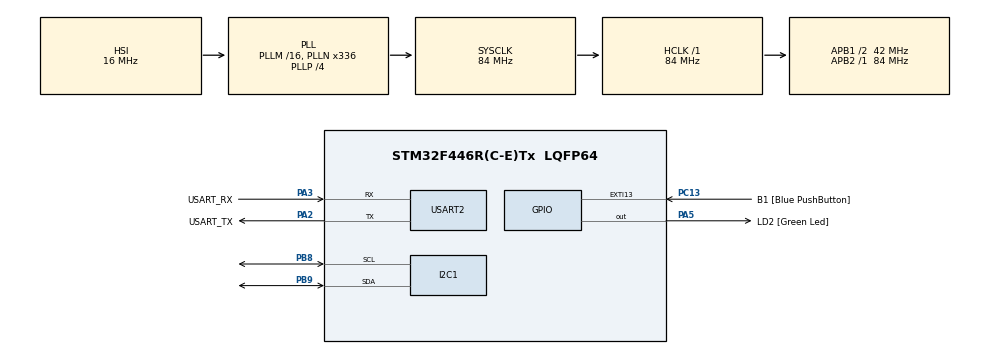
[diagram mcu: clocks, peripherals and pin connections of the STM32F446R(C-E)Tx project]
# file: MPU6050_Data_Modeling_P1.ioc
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Mcu.Family=STM32F4
Mcu.Name=STM32F446R(C-E)Tx
Mcu.Package=LQFP64
NVIC.PriorityGroup=NVIC_PRIORITYGROUP_0
NVIC.USART2_IRQn=true\:0\:0\:false\:false\:true\:true\:true\:true
PA13.GPIO_Label=TMS
PA13.Mode=Serial_Wire
PA13.Signal=SYS_JTMS-SWDIO
PA14.GPIO_Label=TCK
PA14.Mode=Serial_Wire
PA14.Signal=SYS_JTCK-SWCLK
PA2.GPIO_Label=USART_TX
PA2.Mode=Asynchronous
PA2.Signal=USART2_TX
PA3.GPIO_Label=USART_RX
PA3.Mode=Asynchronous
PA3.Signal=USART2_RX
PA5.GPIO_Label=LD2 [Green Led]
PA5.Signal=GPIO_Output
PB3.GPIO_Label=SWO
PB3.Signal=SYS_JTDO-SWO
PB8.Mode=I2C
PB8.Signal=I2C1_SCL
PB9.Mode=I2C
PB9.Signal=I2C1_SDA
PC13.GPIO_Label=B1 [Blue PushButton]
PC13.GPIO_ModeDefaultEXTI=GPIO_MODE_IT_FALLING
PC13.Signal=GPXTI13
PC14-OSC32_IN.Mode=LSE-External-Oscillator
PC14-OSC32_IN.Signal=RCC_OSC32_IN
PC15-OSC32_OUT.Mode=LSE-External-Oscillator
PC15-OSC32_OUT.Signal=RCC_OSC32_OUT
PH0-OSC_IN.Mode=HSE-External-Oscillator
PH0-OSC_IN.Signal=RCC_OSC_IN
PH1-OSC_OUT.Mode=HSE-External-Oscillator
PH1-OSC_OUT.Signal=RCC_OSC_OUT
ProjectManager.HeapSize=0x200
ProjectManager.StackSize=0x400
ProjectManager.TargetToolchain=STM32CubeIDE
RCC.48MHZClocksFreq_Value=84000000
RCC.AHBFreq_Value=84000000
RCC.APB1CLKDivider=RCC_HCLK_DIV2
RCC.APB1Freq_Value=42000000
RCC.APB1TimFreq_Value=84000000
RCC.APB2Freq_Value=84000000
RCC.APB2TimFreq_Value=84000000
RCC.CortexFreq_Value=84000000
RCC.FLatency-AdvancedSettings=FLASH_LATENCY_2
RCC.HCLKFreq_Value=84000000
RCC.HSE_VALUE=8000000
RCC.HSI_VALUE=16000000
RCC.PLLN=336
RCC.PLLP=RCC_PLLP_DIV4
RCC.SYSCLKFreq_VALUE=84000000
RCC.SYSCLKSource=RCC_SYSCLKSOURCE_PLLCLK
RCC.USBFreq_Value=168000000
RCC.VCOOutputFreq_Value=336000000
USART2.VirtualMode=VM_ASYNC
board=NUCLEO-F446RE

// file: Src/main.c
/* USER CODE BEGIN Header */
/**
  ******************************************************************************
  * @file           : main.c
  * @brief          : Main program body
  ******************************************************************************
  * @attention
  *
  * Copyright (c) 2026 STMicroelectronics.
  * All rights reserved.
  *
  * This software is licensed under terms that can be found in the LICENSE file
  * in the root directory of this software component.
  * If no LICENSE file comes with this software, it is provided AS-IS.
  *
  ******************************************************************************
  */
/* USER CODE END Header */
#include "main.h"
#include "i2c.h"
#include "usart.h"
#include "gpio.h"

/* USER CODE BEGIN Includes */
#include "imu_logger.h"
#include "6050_logic.h"
#include <stdint.h>
#include <stdbool.h>
#include <stdio.h>
/* USER CODE END Includes */

void SystemClock_Config(void);

/* USER CODE BEGIN 0 */
#define BUTTON_HOLD_TIME 3000U
#define DEBOUNCE_PAUSE   50U
#define SAMPLE_DELAY     20U

/* USER CODE END 0 */

int main(void)
{

  /* MCU Configuration--------------------------------------------------------*/

  /* Reset of all peripherals, Initializes the Flash interface and the Systick. */
  HAL_Init();

  /* Configure the system clock */
  SystemClock_Config();

  /* Initialize all configured peripherals */
  MX_GPIO_Init();
  MX_I2C1_Init();
  MX_USART2_UART_Init();
  /* USER CODE BEGIN 2 */

  bool recording = false;
  bool dumped = false;
  MPU6050Sample mpu6050_data;
  FullIMUSample full_sample;
  uint32_t last_sample_time = 0;
  char err_msg[100];
  char gen_msg[200];
  HAL_StatusTypeDef status;

  status = MPU6050_init();
  snprintf(err_msg, sizeof(err_msg), "Status after MPU6050 init: %d \r\n", status);
  uart_print(err_msg);

  status = logger_init();
  snprintf(err_msg, sizeof(err_msg), "Status after MPU6050 init: %d \r\n", status);
  uart_print(err_msg);

  /* USER CODE END 2 */

  /* Infinite loop */
  while (1)
  {

    /* USER CODE BEGIN 3 */
	  dumped = false;

	  if (HAL_GPIO_ReadPin(GPIOC, GPIO_PIN_13) == GPIO_PIN_RESET) {
		  uint32_t press_start = HAL_GetTick();

		  snprintf(gen_msg, sizeof(gen_msg), "Button Pressed.\r\n");
		  uart_print(gen_msg);

		  // avoid debounce
		  HAL_Delay(DEBOUNCE_PAUSE);

		  while (HAL_GPIO_ReadPin(GPIOC, GPIO_PIN_13) == GPIO_PIN_RESET) {

			  // if held for >3 seconds send data over uart2
			  if (!recording && (HAL_GetTick() >= press_start + 3000)) {

				 snprintf(gen_msg, sizeof(gen_msg), "Held for 3, dumping flash now.\r\n");
				 uart_print(gen_msg);

				 HAL_GPIO_WritePin(GPIOA, GPIO_PIN_5, GPIO_PIN_SET);

				 status = dump_flash_uart();

				 snprintf(err_msg, sizeof(err_msg), "Status after flash data dump: %d \r\n", status);
				 uart_print(err_msg);

				 status = clear_flash_sector_7();

				 snprintf(err_msg, sizeof(err_msg), "Status after flash clear: %d \r\n", status);
				 uart_print(err_msg);

				 dumped = true;

				 HAL_GPIO_WritePin(GPIOA, GPIO_PIN_5, GPIO_PIN_RESET);

				 break;
			  }
		  }

		  // avoid debounce
		  HAL_Delay(DEBOUNCE_PAUSE);

		  // toggle recording, only turn on if no data in flash.
		  if (!dumped) {
			  if (!recording && flash_empty()) {
				  recording = true;

				  snprintf(gen_msg, sizeof(gen_msg), "Recording ON\r\n");
				  uart_print(gen_msg);

			  } else if (recording) {

				  snprintf(gen_msg, sizeof(gen_msg), "Recording OFF\r\n");
				  uart_print(gen_msg);

				  // if recording stop and write to flash.
				  recording = !recording;

				  status = write_buf_to_flash();
				  snprintf(err_msg, sizeof(err_msg), "Status after write buf to flash: %d \r\n", status);
				  uart_print(err_msg);

				  status = clear_buf();
				  snprintf(err_msg, sizeof(err_msg), "Status after clear buffer: %d \r\n", status);
				  uart_print(err_msg);
			  }
		  }
	  }

	  // collect data if recording and it has been 20ms
	  if (recording && (HAL_GetTick() - SAMPLE_DELAY > last_sample_time)) {
		  last_sample_time = HAL_GetTick();

		  if (!buf_full()) {

			  snprintf(gen_msg, sizeof(gen_msg), "Taking sample.\r\n");
			  uart_print(gen_msg);

			  HAL_GPIO_WritePin(GPIOA, GPIO_PIN_5, GPIO_PIN_SET);
			  status = MPU6050_get_sample(&mpu6050_data);

			  snprintf(err_msg, sizeof(err_msg), "Status after sample read: %d \r\n", status);
			  if (status != HAL_OK) uart_print(err_msg);

			  full_sample.ax = mpu6050_data.ax;
			  full_sample.ay = mpu6050_data.ay;
			  full_sample.az = mpu6050_data.az;
			  full_sample.gx = mpu6050_data.gx;
			  full_sample.gy = mpu6050_data.gy;
			  full_sample.gz = mpu6050_data.gz;
			  full_sample.temp = mpu6050_data.temp;
			  full_sample.time = HAL_GetTick();

			  status = write_to_buf(&full_sample);

			  snprintf(err_msg, sizeof(err_msg), "Status after sample write: %d \r\n", status);
			  if (status != HAL_OK) uart_print(err_msg);
			  HAL_GPIO_WritePin(GPIOA, GPIO_PIN_5, GPIO_PIN_RESET);
		  } else {

			  snprintf(gen_msg, sizeof(gen_msg), "Recording stopped because buffer is full.\r\n");
			  uart_print(gen_msg);

			  // if the buffer is full stop and write to flash
			  recording = !recording;

			  status = write_buf_to_flash();
			  snprintf(err_msg, sizeof(err_msg), "Status after write buf to flash: %d \r\n", status);
			  uart_print(err_msg);

			  status = clear_buf();
			  snprintf(err_msg, sizeof(err_msg), "Status after clear buffer: %d \r\n", status);
			  uart_print(err_msg);
		  }
	  }

  }
  /* USER CODE END 3 */
}

void SystemClock_Config(void)
{
  RCC_OscInitTypeDef RCC_OscInitStruct = {0};
  RCC_ClkInitTypeDef RCC_ClkInitStruct = {0};

  /** Configure the main internal regulator output voltage
  */
  __HAL_RCC_PWR_CLK_ENABLE();
  __HAL_PWR_VOLTAGESCALING_CONFIG(PWR_REGULATOR_VOLTAGE_SCALE3);

  /** Initializes the RCC Oscillators according to the specified parameters
  * in the RCC_OscInitTypeDef structure.
  */
  RCC_OscInitStruct.OscillatorType = RCC_OSCILLATORTYPE_HSI;
  RCC_OscInitStruct.HSIState = RCC_HSI_ON;
  RCC_OscInitStruct.HSICalibrationValue = RCC_HSICALIBRATION_DEFAULT;
  RCC_OscInitStruct.PLL.PLLState = RCC_PLL_ON;
  RCC_OscInitStruct.PLL.PLLSource = RCC_PLLSOURCE_HSI;
  RCC_OscInitStruct.PLL.PLLM = 16;
  RCC_OscInitStruct.PLL.PLLN = 336;
  RCC_OscInitStruct.PLL.PLLP = RCC_PLLP_DIV4;
  RCC_OscInitStruct.PLL.PLLQ = 2;
  RCC_OscInitStruct.PLL.PLLR = 2;
  if (HAL_RCC_OscConfig(&RCC_OscInitStruct) != HAL_OK)
  {
    Error_Handler();
  }

  /** Initializes the CPU, AHB and APB buses clocks
  */
  RCC_ClkInitStruct.ClockType = RCC_CLOCKTYPE_HCLK|RCC_CLOCKTYPE_SYSCLK
                              |RCC_CLOCKTYPE_PCLK1|RCC_CLOCKTYPE_PCLK2;
  RCC_ClkInitStruct.SYSCLKSource = RCC_SYSCLKSOURCE_PLLCLK;
  RCC_ClkInitStruct.AHBCLKDivider = RCC_SYSCLK_DIV1;
  RCC_ClkInitStruct.APB1CLKDivider = RCC_HCLK_DIV2;
  RCC_ClkInitStruct.APB2CLKDivider = RCC_HCLK_DIV1;

  if (HAL_RCC_ClockConfig(&RCC_ClkInitStruct, FLASH_LATENCY_2) != HAL_OK)
  {
    Error_Handler();
  }
}

void Error_Handler(void)
{
  __disable_irq();
  while (1)
  {
  }
}
